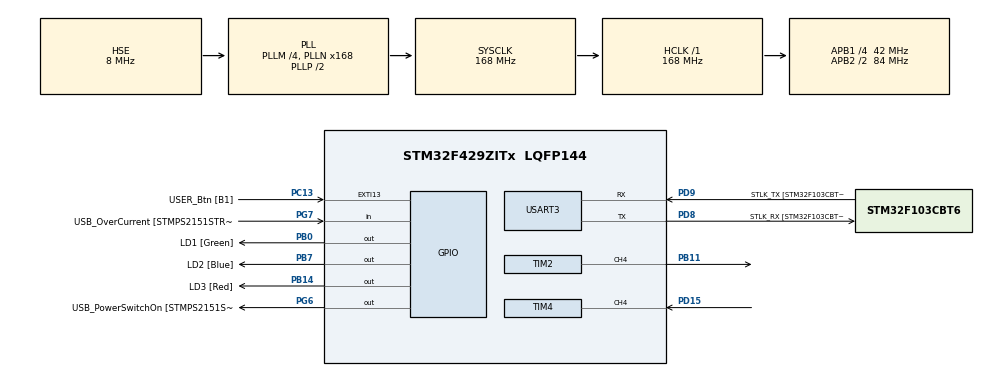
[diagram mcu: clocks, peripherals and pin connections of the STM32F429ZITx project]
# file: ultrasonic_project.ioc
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Mcu.Family=STM32F4
Mcu.Name=STM32F429ZITx
Mcu.Package=LQFP144
NVIC.PriorityGroup=NVIC_PRIORITYGROUP_4
NVIC.TIM4_IRQn=true\:0\:0\:false\:false\:true\:true\:true\:true
PA1.GPIO_Label=RMII_REF_CLK [LAN8742A-CZ-TR_REFCLK0]
PA1.Signal=ETH_REF_CLK
PA10.GPIO_Label=USB_ID
PA10.Signal=USB_OTG_FS_ID
PA11.GPIO_Label=USB_DM
PA11.Signal=USB_OTG_FS_DM
PA12.GPIO_Label=USB_DP
PA12.Signal=USB_OTG_FS_DP
PA13.GPIO_Label=TMS
PA13.Mode=Serial_Wire
PA13.Signal=SYS_JTMS-SWDIO
PA14.GPIO_Label=TCK
PA14.Mode=Serial_Wire
PA14.Signal=SYS_JTCK-SWCLK
PA2.GPIO_Label=RMII_MDIO [LAN8742A-CZ-TR_MDIO]
PA2.Signal=ETH_MDIO
PA7.GPIO_Label=RMII_CRS_DV [LAN8742A-CZ-TR_CRS_DV]
PA7.Signal=ETH_CRS_DV
PA8.GPIO_Label=USB_SOF [TP1]
PA8.Signal=USB_OTG_FS_SOF
PA9.GPIO_Label=USB_VBUS
PA9.Signal=USB_OTG_FS_VBUS
PB0.GPIO_Label=LD1 [Green]
PB0.Signal=GPIO_Output
PB11.Signal=S_TIM2_CH4
PB13.GPIO_Label=RMII_TXD1 [LAN8742A-CZ-TR_TXD1]
PB13.Signal=ETH_TXD1
PB14.GPIO_Label=LD3 [Red]
PB14.Signal=GPIO_Output
PB7.GPIO_Label=LD2 [Blue]
PB7.Signal=GPIO_Output
PC1.GPIO_Label=RMII_MDC [LAN8742A-CZ-TR_MDC]
PC1.Signal=ETH_MDC
PC13.GPIO_Label=USER_Btn [B1]
PC13.Signal=GPXTI13
PC14/OSC32_IN.Mode=LSE-External-Oscillator
PC14/OSC32_IN.Signal=RCC_OSC32_IN
PC15/OSC32_OUT.Mode=LSE-External-Oscillator
PC15/OSC32_OUT.Signal=RCC_OSC32_OUT
PC4.GPIO_Label=RMII_RXD0 [LAN8742A-CZ-TR_RXD0]
PC4.Signal=ETH_RXD0
PC5.GPIO_Label=RMII_RXD1 [LAN8742A-CZ-TR_RXD1]
PC5.Signal=ETH_RXD1
PD15.Signal=S_TIM4_CH4
PD8.GPIO_Label=STLK_RX [STM32F103CBT6_PA3]
PD8.Mode=Asynchronous
PD8.Signal=USART3_TX
PD9.GPIO_Label=STLK_TX [STM32F103CBT6_PA2]
PD9.Mode=Asynchronous
PD9.Signal=USART3_RX
PG11.GPIO_Label=RMII_TX_EN [LAN8742A-CZ-TR_TXEN]
PG11.Signal=ETH_TX_EN
PG13.GPIO_Label=RMII_TXD0 [LAN8742A-CZ-TR_TXD0]
PG13.Signal=ETH_TXD0
PG6.GPIO_Label=USB_PowerSwitchOn [STMPS2151STR_EN]
PG6.Signal=GPIO_Output
PG7.GPIO_Label=USB_OverCurrent [STMPS2151STR_FAULT]
PG7.Signal=GPIO_Input
PH0/OSC_IN.GPIO_Label=MCO [STM32F103CBT6_PA8]
PH0/OSC_IN.Mode=HSE-External-Clock-Source
PH0/OSC_IN.Signal=RCC_OSC_IN
PH1/OSC_OUT.Mode=HSE-External-Clock-Source
PH1/OSC_OUT.Signal=RCC_OSC_OUT
ProjectManager.HeapSize=0x200
ProjectManager.StackSize=0x400
ProjectManager.TargetToolchain=STM32CubeIDE
RCC.48MHZClocksFreq_Value=48000000
RCC.AHBFreq_Value=168000000
RCC.APB1CLKDivider=RCC_HCLK_DIV4
RCC.APB1Freq_Value=42000000
RCC.APB1TimFreq_Value=84000000
RCC.APB2CLKDivider=RCC_HCLK_DIV2
RCC.APB2Freq_Value=84000000
RCC.APB2TimCLKDivider=2
RCC.APB2TimFreq_Value=168000000
RCC.CortexFreq_Value=168000000
RCC.HCLKFreq_Value=168000000
RCC.HSE_VALUE=8000000
RCC.HSI_VALUE=16000000
RCC.PLLM=4
RCC.PLLMUL=RCC_PLL_MUL9
RCC.PLLN=168
RCC.PLLQ=7
RCC.PLLSourceVirtual=RCC_PLLSOURCE_HSE
RCC.PRESCALERUSB=RCC_USBCLKSOURCE_PLL_DIV1_5
RCC.SYSCLKFreq_VALUE=168000000
RCC.SYSCLKSource=RCC_SYSCLKSOURCE_PLLCLK
RCC.SYSCLKSourceVirtual=RCC_SYSCLKSOURCE_PLLCLK
RCC.USBFreq_Value=48000000
RCC.VCOOutputFreq_Value=336000000
SH.S_TIM2_CH4.0=TIM2_CH4,PWM Generation4 CH4
SH.S_TIM4_CH4.0=TIM4_CH4,Input_Capture4_from_TI4
TIM2.Channel-PWM\ Generation4\ CH4=TIM_CHANNEL_4
TIM2.Period=1000-1
TIM2.Prescaler=1680-1
TIM4.Channel-Input_Capture4_from_TI4=TIM_CHANNEL_4
TIM4.Period=65535-1
TIM4.Prescaler=84-1
USART3.VirtualMode=VM_ASYNC
VP_TIM4_VS_ClockSourceINT.Mode=Internal
board=NUCLEO-F429ZI

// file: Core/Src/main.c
/* USER CODE BEGIN Header */
/**
  ******************************************************************************
  * @file           : main.c
  * @brief          : Main program body
  ******************************************************************************
  * @attention
  *
  * Copyright (c) 2023 STMicroelectronics.
  * All rights reserved.
  *
  * This software is licensed under terms that can be found in the LICENSE file
  * in the root directory of this software component.
  * If no LICENSE file comes with this software, it is provided AS-IS.
  *
  ******************************************************************************
  */
/* USER CODE END Header */
#include "main.h"

/* USER CODE BEGIN PD */
#define TRIG_PIN GPIO_PIN_12
#define TRIG_PORT GPIOF
uint32_t IC_val1 = 0;
uint32_t IC_val2 = 0;
uint32_t diff = 0;
uint8_t FC = 0;
uint8_t distance = 0;
/* USER CODE END PD */

/* USER CODE BEGIN PM */
char uart_buf[100];
/* USER CODE END PM */

TIM_HandleTypeDef htim2;
TIM_HandleTypeDef htim4;

UART_HandleTypeDef huart3;

void SystemClock_Config(void);
static void MX_GPIO_Init(void);
static void MX_USART3_UART_Init(void);
static void MX_TIM2_Init(void);
static void MX_TIM4_Init(void);
/* USER CODE BEGIN PFP */
void delay (uint16_t time)
{
	__HAL_TIM_SET_COUNTER(&htim4, 0);
	while (__HAL_TIM_GET_COUNTER (&htim4) < time);
}

void HAL_TIM_IC_CaptureCallback(TIM_HandleTypeDef *htim)
{
	if(htim->Channel == HAL_TIM_ACTIVE_CHANNEL_4){
		if(FC == 0){
               IC_val1 = HAL_TIM_ReadCapturedValue(htim, TIM_CHANNEL_4);
               FC = 1;
               __HAL_TIM_SET_CAPTUREPOLARITY(htim, TIM_CHANNEL_4, TIM_INPUTCHANNELPOLARITY_FALLING);

		}
		else if(FC == 1){
			IC_val2 = HAL_TIM_ReadCapturedValue (htim, TIM_CHANNEL_4);
			__HAL_TIM_SET_COUNTER(htim, 0);

			if(IC_val2 > IC_val1){
				diff = IC_val2-IC_val1;
			}
			else if(IC_val1 > IC_val2){
				diff = (0xffff - IC_val1) + IC_val2;

			}
			distance = diff * 0.34/2;
			FC = 0;
		}
	}
}

void HCSR04_Read(){
	HAL_GPIO_WritePin(TRIG_PORT, TRIG_PIN, GPIO_PIN_SET);
	delay(10);
	HAL_GPIO_WritePin(TRIG_PORT, TRIG_PIN, GPIO_PIN_RESET);

	__HAL_TIM_ENABLE_IT(&htim4, TIM_IT_CC4);
}

/* USER CODE END PFP */

int main(void)
{

  /* MCU Configuration--------------------------------------------------------*/

  /* Reset of all peripherals, Initializes the Flash interface and the Systick. */
  HAL_Init();

  /* Configure the system clock */
  SystemClock_Config();

  /* Initialize all configured peripherals */
  MX_GPIO_Init();
  MX_USART3_UART_Init();
  MX_TIM2_Init();
  MX_TIM4_Init();
  /* USER CODE BEGIN 2 */
 HAL_TIM_IC_Start_IT(&htim4, TIM_CHANNEL_4);
  /* USER CODE END 2 */

  /* Infinite loop */
  while (1)
  {
     HCSR04_Read();
     memset(uart_buf,0,sizeof(uart_buf));
     sprintf(uart_buf,"distance = %d\r\n", distance);
     HAL_UART_Transmit(&huart3,uart_buf,sizeof(uart_buf),0xFFFF);
     HAL_Delay(200);
  }
}

void SystemClock_Config(void)
{
  RCC_OscInitTypeDef RCC_OscInitStruct = {0};
  RCC_ClkInitTypeDef RCC_ClkInitStruct = {0};

  /** Configure the main internal regulator output voltage
  */
  __HAL_RCC_PWR_CLK_ENABLE();
  __HAL_PWR_VOLTAGESCALING_CONFIG(PWR_REGULATOR_VOLTAGE_SCALE1);

  /** Initializes the RCC Oscillators according to the specified parameters
  * in the RCC_OscInitTypeDef structure.
  */
  RCC_OscInitStruct.OscillatorType = RCC_OSCILLATORTYPE_HSE;
  RCC_OscInitStruct.HSEState = RCC_HSE_BYPASS;
  RCC_OscInitStruct.PLL.PLLState = RCC_PLL_ON;
  RCC_OscInitStruct.PLL.PLLSource = RCC_PLLSOURCE_HSE;
  RCC_OscInitStruct.PLL.PLLM = 4;
  RCC_OscInitStruct.PLL.PLLN = 168;
  RCC_OscInitStruct.PLL.PLLP = RCC_PLLP_DIV2;
  RCC_OscInitStruct.PLL.PLLQ = 7;
  if (HAL_RCC_OscConfig(&RCC_OscInitStruct) != HAL_OK)
  {
    Error_Handler();
  }

  /** Initializes the CPU, AHB and APB buses clocks
  */
  RCC_ClkInitStruct.ClockType = RCC_CLOCKTYPE_HCLK|RCC_CLOCKTYPE_SYSCLK
                              |RCC_CLOCKTYPE_PCLK1|RCC_CLOCKTYPE_PCLK2;
  RCC_ClkInitStruct.SYSCLKSource = RCC_SYSCLKSOURCE_PLLCLK;
  RCC_ClkInitStruct.AHBCLKDivider = RCC_SYSCLK_DIV1;
  RCC_ClkInitStruct.APB1CLKDivider = RCC_HCLK_DIV4;
  RCC_ClkInitStruct.APB2CLKDivider = RCC_HCLK_DIV2;

  if (HAL_RCC_ClockConfig(&RCC_ClkInitStruct, FLASH_LATENCY_5) != HAL_OK)
  {
    Error_Handler();
  }
}

static void MX_TIM2_Init(void)
{

  TIM_MasterConfigTypeDef sMasterConfig = {0};
  TIM_OC_InitTypeDef sConfigOC = {0};

  htim2.Instance = TIM2;
  htim2.Init.Prescaler = 1680-1;
  htim2.Init.CounterMode = TIM_COUNTERMODE_UP;
  htim2.Init.Period = 1000-1;
  htim2.Init.ClockDivision = TIM_CLOCKDIVISION_DIV1;
  htim2.Init.AutoReloadPreload = TIM_AUTORELOAD_PRELOAD_DISABLE;
  if (HAL_TIM_PWM_Init(&htim2) != HAL_OK)
  {
    Error_Handler();
  }
  sMasterConfig.MasterOutputTrigger = TIM_TRGO_RESET;
  sMasterConfig.MasterSlaveMode = TIM_MASTERSLAVEMODE_DISABLE;
  if (HAL_TIMEx_MasterConfigSynchronization(&htim2, &sMasterConfig) != HAL_OK)
  {
    Error_Handler();
  }
  sConfigOC.OCMode = TIM_OCMODE_PWM1;
  sConfigOC.Pulse = 0;
  sConfigOC.OCPolarity = TIM_OCPOLARITY_HIGH;
  sConfigOC.OCFastMode = TIM_OCFAST_DISABLE;
  if (HAL_TIM_PWM_ConfigChannel(&htim2, &sConfigOC, TIM_CHANNEL_4) != HAL_OK)
  {
    Error_Handler();
  }
  HAL_TIM_MspPostInit(&htim2);

}

static void MX_TIM4_Init(void)
{

  TIM_ClockConfigTypeDef sClockSourceConfig = {0};
  TIM_MasterConfigTypeDef sMasterConfig = {0};
  TIM_IC_InitTypeDef sConfigIC = {0};

  htim4.Instance = TIM4;
  htim4.Init.Prescaler = 84-1;
  htim4.Init.CounterMode = TIM_COUNTERMODE_UP;
  htim4.Init.Period = 65535-1;
  htim4.Init.ClockDivision = TIM_CLOCKDIVISION_DIV1;
  htim4.Init.AutoReloadPreload = TIM_AUTORELOAD_PRELOAD_DISABLE;
  if (HAL_TIM_Base_Init(&htim4) != HAL_OK)
  {
    Error_Handler();
  }
  sClockSourceConfig.ClockSource = TIM_CLOCKSOURCE_INTERNAL;
  if (HAL_TIM_ConfigClockSource(&htim4, &sClockSourceConfig) != HAL_OK)
  {
    Error_Handler();
  }
  if (HAL_TIM_IC_Init(&htim4) != HAL_OK)
  {
    Error_Handler();
  }
  sMasterConfig.MasterOutputTrigger = TIM_TRGO_RESET;
  sMasterConfig.MasterSlaveMode = TIM_MASTERSLAVEMODE_DISABLE;
  if (HAL_TIMEx_MasterConfigSynchronization(&htim4, &sMasterConfig) != HAL_OK)
  {
    Error_Handler();
  }
  sConfigIC.ICPolarity = TIM_INPUTCHANNELPOLARITY_RISING;
  sConfigIC.ICSelection = TIM_ICSELECTION_DIRECTTI;
  sConfigIC.ICPrescaler = TIM_ICPSC_DIV1;
  sConfigIC.ICFilter = 0;
  if (HAL_TIM_IC_ConfigChannel(&htim4, &sConfigIC, TIM_CHANNEL_4) != HAL_OK)
  {
    Error_Handler();
  }

}

static void MX_USART3_UART_Init(void)
{

  huart3.Instance = USART3;
  huart3.Init.BaudRate = 115200;
  huart3.Init.WordLength = UART_WORDLENGTH_8B;
  huart3.Init.StopBits = UART_STOPBITS_1;
  huart3.Init.Parity = UART_PARITY_NONE;
  huart3.Init.Mode = UART_MODE_TX_RX;
  huart3.Init.HwFlowCtl = UART_HWCONTROL_NONE;
  huart3.Init.OverSampling = UART_OVERSAMPLING_16;
  if (HAL_UART_Init(&huart3) != HAL_OK)
  {
    Error_Handler();
  }

}

static void MX_GPIO_Init(void)
{
  GPIO_InitTypeDef GPIO_InitStruct = {0};

  /* GPIO Ports Clock Enable */
  __HAL_RCC_GPIOC_CLK_ENABLE();
  __HAL_RCC_GPIOH_CLK_ENABLE();
  __HAL_RCC_GPIOA_CLK_ENABLE();
  __HAL_RCC_GPIOB_CLK_ENABLE();
  __HAL_RCC_GPIOD_CLK_ENABLE();
  __HAL_RCC_GPIOG_CLK_ENABLE();

  /*Configure GPIO pin Output Level */
  HAL_GPIO_WritePin(GPIOB, LD1_Pin|LD3_Pin|LD2_Pin, GPIO_PIN_RESET);

  /*Configure GPIO pin Output Level */
  HAL_GPIO_WritePin(USB_PowerSwitchOn_GPIO_Port, USB_PowerSwitchOn_Pin, GPIO_PIN_RESET);

  /*Configure GPIO pin : USER_Btn_Pin */
  GPIO_InitStruct.Pin = USER_Btn_Pin;
  GPIO_InitStruct.Mode = GPIO_MODE_IT_RISING;
  GPIO_InitStruct.Pull = GPIO_NOPULL;
  HAL_GPIO_Init(USER_Btn_GPIO_Port, &GPIO_InitStruct);

  /*Configure GPIO pins : RMII_MDC_Pin RMII_RXD0_Pin RMII_RXD1_Pin */
  GPIO_InitStruct.Pin = RMII_MDC_Pin|RMII_RXD0_Pin|RMII_RXD1_Pin;
  GPIO_InitStruct.Mode = GPIO_MODE_AF_PP;
  GPIO_InitStruct.Pull = GPIO_NOPULL;
  GPIO_InitStruct.Speed = GPIO_SPEED_FREQ_VERY_HIGH;
  GPIO_InitStruct.Alternate = GPIO_AF11_ETH;
  HAL_GPIO_Init(GPIOC, &GPIO_InitStruct);

  /*Configure GPIO pins : RMII_REF_CLK_Pin RMII_MDIO_Pin RMII_CRS_DV_Pin */
  GPIO_InitStruct.Pin = RMII_REF_CLK_Pin|RMII_MDIO_Pin|RMII_CRS_DV_Pin;
  GPIO_InitStruct.Mode = GPIO_MODE_AF_PP;
  GPIO_InitStruct.Pull = GPIO_NOPULL;
  GPIO_InitStruct.Speed = GPIO_SPEED_FREQ_VERY_HIGH;
  GPIO_InitStruct.Alternate = GPIO_AF11_ETH;
  HAL_GPIO_Init(GPIOA, &GPIO_InitStruct);

  /*Configure GPIO pins : LD1_Pin LD3_Pin LD2_Pin */
  GPIO_InitStruct.Pin = LD1_Pin|LD3_Pin|LD2_Pin;
  GPIO_InitStruct.Mode = GPIO_MODE_OUTPUT_PP;
  GPIO_InitStruct.Pull = GPIO_NOPULL;
  GPIO_InitStruct.Speed = GPIO_SPEED_FREQ_LOW;
  HAL_GPIO_Init(GPIOB, &GPIO_InitStruct);

  /*Configure GPIO pin : RMII_TXD1_Pin */
  GPIO_InitStruct.Pin = RMII_TXD1_Pin;
  GPIO_InitStruct.Mode = GPIO_MODE_AF_PP;
  GPIO_InitStruct.Pull = GPIO_NOPULL;
  GPIO_InitStruct.Speed = GPIO_SPEED_FREQ_VERY_HIGH;
  GPIO_InitStruct.Alternate = GPIO_AF11_ETH;
  HAL_GPIO_Init(RMII_TXD1_GPIO_Port, &GPIO_InitStruct);

  /*Configure GPIO pin : USB_PowerSwitchOn_Pin */
  GPIO_InitStruct.Pin = USB_PowerSwitchOn_Pin;
  GPIO_InitStruct.Mode = GPIO_MODE_OUTPUT_PP;
  GPIO_InitStruct.Pull = GPIO_NOPULL;
  GPIO_InitStruct.Speed = GPIO_SPEED_FREQ_LOW;
  HAL_GPIO_Init(USB_PowerSwitchOn_GPIO_Port, &GPIO_InitStruct);

  /*Configure GPIO pin : USB_OverCurrent_Pin */
  GPIO_InitStruct.Pin = USB_OverCurrent_Pin;
  GPIO_InitStruct.Mode = GPIO_MODE_INPUT;
  GPIO_InitStruct.Pull = GPIO_NOPULL;
  HAL_GPIO_Init(USB_OverCurrent_GPIO_Port, &GPIO_InitStruct);

  /*Configure GPIO pins : USB_SOF_Pin USB_ID_Pin USB_DM_Pin USB_DP_Pin */
  GPIO_InitStruct.Pin = USB_SOF_Pin|USB_ID_Pin|USB_DM_Pin|USB_DP_Pin;
  GPIO_InitStruct.Mode = GPIO_MODE_AF_PP;
  GPIO_InitStruct.Pull = GPIO_NOPULL;
  GPIO_InitStruct.Speed = GPIO_SPEED_FREQ_VERY_HIGH;
  GPIO_InitStruct.Alternate = GPIO_AF10_OTG_FS;
  HAL_GPIO_Init(GPIOA, &GPIO_InitStruct);

  /*Configure GPIO pin : USB_VBUS_Pin */
  GPIO_InitStruct.Pin = USB_VBUS_Pin;
  GPIO_InitStruct.Mode = GPIO_MODE_INPUT;
  GPIO_InitStruct.Pull = GPIO_NOPULL;
  HAL_GPIO_Init(USB_VBUS_GPIO_Port, &GPIO_InitStruct);

  /*Configure GPIO pins : RMII_TX_EN_Pin RMII_TXD0_Pin */
  GPIO_InitStruct.Pin = RMII_TX_EN_Pin|RMII_TXD0_Pin;
  GPIO_InitStruct.Mode = GPIO_MODE_AF_PP;
  GPIO_InitStruct.Pull = GPIO_NOPULL;
  GPIO_InitStruct.Speed = GPIO_SPEED_FREQ_VERY_HIGH;
  GPIO_InitStruct.Alternate = GPIO_AF11_ETH;
  HAL_GPIO_Init(GPIOG, &GPIO_InitStruct);

}

void Error_Handler(void)
{
  __disable_irq();
  while (1)
  {
  }
}
